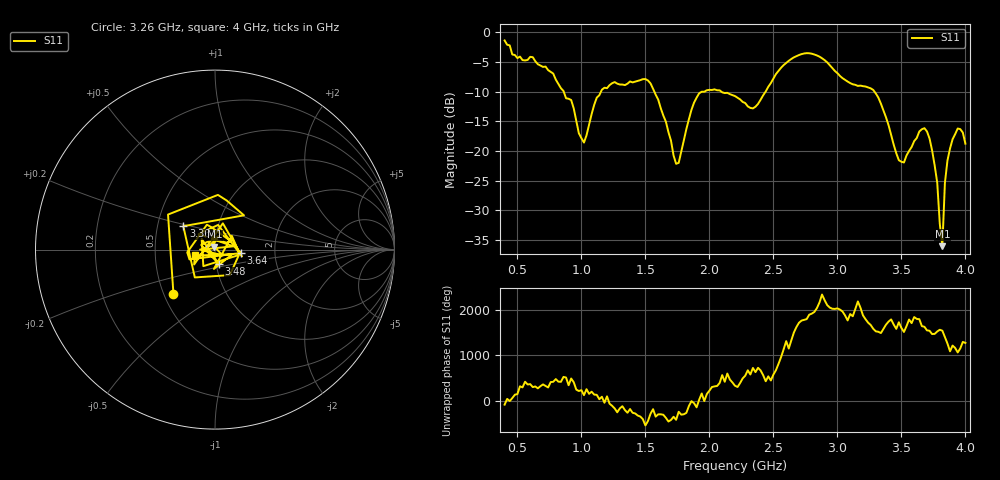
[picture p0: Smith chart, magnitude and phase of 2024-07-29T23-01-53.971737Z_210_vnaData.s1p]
!Created with skrf (http://scikit-rf.org).
# Hz S RI R 50.0
!freq ReS11 ImS11
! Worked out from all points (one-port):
!   181 points, 400 MHz to 4 GHz, reference 50 ohm
!   lowest |S11| = -36.1 dB at 3.82 GHz (marker M1), VSWR 1.03, Z = 49.7 + j1.54 ohm
!   |S11| at or under -10 dB: 1.57 GHz to 1.962 GHz (392.1 MHz wide, 22.2 % of centre); 2.093 GHz to 2.439 GHz (346.3 MHz wide, 15.3 % of centre); 3.289 GHz to end of sweep (the widest 3 of 4)
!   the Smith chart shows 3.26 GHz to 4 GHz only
!   S11 on the Smith chart (normalised r, x): 3.26 GHz: 0.56, -0.31; 3.36 GHz: 0.68, +0.19; 3.48 GHz: 1.03, -0.17; 3.64 GHz: 1.34, -0.05; 4 GHz: 0.80, -0.05
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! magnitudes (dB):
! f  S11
! 400 MHz  -1.4
! 860 MHz  -9.9
! 920 MHz  -11.4
! 1.02 GHz  -18.6
! 1.12 GHz  -11.0
! 1.3 GHz  -8.8
! 1.54 GHz  -8.6
! 1.76 GHz  -22.0
! 1.86 GHz  -13.1
! 1.92 GHz  -10.3
! 2.2 GHz  -10.8
! 2.34 GHz  -12.8
! 2.66 GHz  -4.2
! 2.84 GHz  -3.9
! 3.1 GHz  -8.6
! 3.26 GHz  -9.4
! 3.36 GHz  -13.2
! 3.48 GHz  -21.6
! 3.56 GHz  -20.0
! 3.64 GHz  -16.7
! 3.7 GHz  -16.7
! 3.74 GHz  -19.9
! 3.78 GHz  -25.4
! 3.82 GHz  -36.1
! 3.84 GHz  -25.4
! 3.88 GHz  -19.6
! 3.94 GHz  -16.2
! 4 GHz  -18.8
